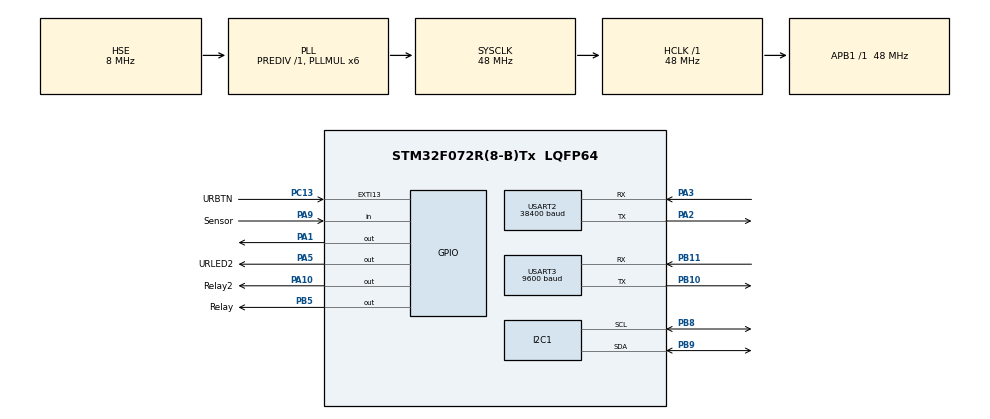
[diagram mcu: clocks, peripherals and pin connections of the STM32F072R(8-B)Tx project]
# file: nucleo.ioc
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Dma.Request0=USART3_RX
Dma.Request1=USART3_TX
Dma.USART3_RX.0.Direction=DMA_PERIPH_TO_MEMORY
Dma.USART3_RX.0.Instance=DMA1_Channel3
Dma.USART3_RX.0.MemDataAlignment=DMA_MDATAALIGN_BYTE
Dma.USART3_RX.0.MemInc=DMA_MINC_ENABLE
Dma.USART3_RX.0.Mode=DMA_CIRCULAR
Dma.USART3_RX.0.PeriphDataAlignment=DMA_PDATAALIGN_BYTE
Dma.USART3_RX.0.PeriphInc=DMA_PINC_DISABLE
Dma.USART3_RX.0.Priority=DMA_PRIORITY_LOW
Dma.USART3_TX.1.Direction=DMA_MEMORY_TO_PERIPH
Dma.USART3_TX.1.Instance=DMA1_Channel2
Dma.USART3_TX.1.MemDataAlignment=DMA_MDATAALIGN_BYTE
Dma.USART3_TX.1.MemInc=DMA_MINC_ENABLE
Dma.USART3_TX.1.Mode=DMA_NORMAL
Dma.USART3_TX.1.PeriphDataAlignment=DMA_PDATAALIGN_BYTE
Dma.USART3_TX.1.PeriphInc=DMA_PINC_DISABLE
Dma.USART3_TX.1.Priority=DMA_PRIORITY_LOW
Mcu.Family=STM32F0
Mcu.Name=STM32F072R(8-B)Tx
Mcu.Package=LQFP64
NVIC.DMA1_Channel2_3_IRQn=true\:0\:0\:false\:false\:true\:false\:true
NVIC.EXTI4_15_IRQn=true\:0\:0\:false\:false\:true\:true\:true
NVIC.TIM16_IRQn=true\:0\:0\:false\:false\:true\:true\:true
NVIC.TIM2_IRQn=true\:0\:0\:false\:false\:true\:true\:true
NVIC.USART2_IRQn=true\:0\:0\:false\:false\:true\:true\:true
PA1.PinState=GPIO_PIN_RESET
PA1.Signal=GPIO_Output
PA10.GPIO_Label=Relay2
PA10.Signal=GPIO_Output
PA13.Mode=Serial_Wire
PA13.Signal=SYS_SWDIO
PA14.Mode=Serial_Wire
PA14.Signal=SYS_SWCLK
PA2.Mode=Asynchronous
PA2.Signal=USART2_TX
PA3.Mode=Asynchronous
PA3.Signal=USART2_RX
PA5.GPIO_Label=URLED2
PA5.Signal=GPIO_Output
PA9.GPIO_Label=Sensor
PA9.Signal=GPIO_Input
PB10.Mode=Asynchronous
PB10.Signal=USART3_TX
PB11.Mode=Asynchronous
PB11.Signal=USART3_RX
PB5.GPIO_Label=Relay
PB5.Signal=GPIO_Output
PB8.Mode=I2C
PB8.Signal=I2C1_SCL
PB9.Mode=I2C
PB9.Signal=I2C1_SDA
PC13.GPIO_Label=URBTN
PC13.Signal=GPXTI13
PF0-OSC_IN.Mode=HSE-External-Oscillator
PF0-OSC_IN.Signal=RCC_OSC_IN
PF1-OSC_OUT.Mode=HSE-External-Oscillator
PF1-OSC_OUT.Signal=RCC_OSC_OUT
ProjectManager.HeapSize=0x200
ProjectManager.StackSize=0x400
ProjectManager.TargetToolchain=STM32CubeIDE
RCC.AHBFreq_Value=48000000
RCC.APB1Freq_Value=48000000
RCC.APB1TimFreq_Value=48000000
RCC.HCLKFreq_Value=48000000
RCC.PLLMUL=RCC_PLL_MUL6
RCC.PLLSourceVirtual=RCC_PLLSOURCE_HSE
RCC.SYSCLKFreq_VALUE=48000000
RCC.SYSCLKSource=RCC_SYSCLKSOURCE_PLLCLK
STMicroelectronics.X-CUBE-MEMS1.8.2.0.BoardOoPartJjAccGyrJjLSM6DSL=I2C
TIM16.Period=5000-1
TIM16.Prescaler=32000-1
TIM2.Period=2999
TIM2.Prescaler=35999
USART2.BaudRate=38400
USART2.VirtualMode-Asynchronous=VM_ASYNC
USART3.BaudRate=9600
USART3.VirtualMode-Asynchronous=VM_ASYNC
VP_TIM16_VS_ClockSourceINT.Mode=Enable_Timer
VP_TIM2_VS_ClockSourceINT.Mode=Internal
board=custom

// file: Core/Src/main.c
/* USER CODE BEGIN Header */
/**
  ******************************************************************************
  * @file           : main.c
  * @brief          : Main program body
  ******************************************************************************
  * @attention
  *
  * <h2><center>&copy; Copyright (c) 2020 STMicroelectronics.
  * All rights reserved.</center></h2>
  *
  * This software component is licensed by ST under BSD 3-Clause license,
  * the "License"; You may not use this file except in compliance with the
  * License. You may obtain a copy of the License at:
  *                        opensource.org/licenses/BSD-3-Clause
  *
  ******************************************************************************
  */
/* USER CODE END Header */
#include "main.h"

/* USER CODE BEGIN Includes */
#include <stdio.h>
#include <string.h>
#include <SerLCD.h>

/* USER CODE END Includes */

/* USER CODE BEGIN PM */
#define TRUE 1
#define FALSE 0
#define COUNTOF(__BUFFER__) (sizeof(__BUFFER__)/sizeof(*(__BUFFER__)))
/* USER CODE END PM */

I2C_HandleTypeDef hi2c1;

TIM_HandleTypeDef htim2;
TIM_HandleTypeDef htim16;

UART_HandleTypeDef huart2;
UART_HandleTypeDef huart3;
DMA_HandleTypeDef hdma_usart3_rx;
DMA_HandleTypeDef hdma_usart3_tx;

/* USER CODE BEGIN PV */
int led_status = FALSE;
//char data[] = "Test\r\n";
uint8_t a[4];
uint8_t rx_data;
uint8_t buf[1000];

uint8_t mise_buffer[32];
uint8_t mise_send_buffer[7] = {0x42,0x4d,0};
uint8_t receive_complete=0;
uint8_t sleep_mode = 0;
uint8_t pm2_5 = 0;
uint8_t pm10 = 0;
char s_pm2_5[3] = "";
char s_pm10[3] = "";

int loop_value = 1;
int list_value = 0;
int i = 0;

uint8_t status_lcd = 0;
uint8_t lcd_counter = 0;

/* USER CODE END PV */

void SystemClock_Config(void);
static void MX_GPIO_Init(void);
static void MX_DMA_Init(void);
static void MX_USART2_UART_Init(void);
static void MX_TIM2_Init(void);
static void MX_USART3_UART_Init(void);
static void MX_TIM16_Init(void);
static void MX_I2C1_Init(void);
/* USER CODE BEGIN PFP */

void print_MISE(void);
void write_MISE(char* cmd);

/* USER CODE END PFP */

/* USER CODE BEGIN 0 */
int __io_putchar(int ch) {
	HAL_UART_Transmit(&huart2, (uint8_t*)&ch, 1, 10);

	return 1;
}

int __io_getchar(void) {
	HAL_UART_Receive_IT(&huart2, rx_data, 1);

	return 1;
}

/* USER CODE END 0 */

int main(void)
{

  /* MCU Configuration--------------------------------------------------------*/

  /* Reset of all peripherals, Initializes the Flash interface and the Systick. */
  HAL_Init();

  /* Configure the system clock */
  SystemClock_Config();

  /* Initialize all configured peripherals */
  MX_GPIO_Init();
  MX_DMA_Init();
  MX_USART2_UART_Init();
  MX_TIM2_Init();
  MX_USART3_UART_Init();
  MX_TIM16_Init();
  MX_I2C1_Init();
  /* USER CODE BEGIN 2 */
  HAL_TIM_Base_Start(&htim2);
  HAL_UART_Receive_IT(&huart2, &rx_data, 1);

//  HAL_GPIO_WritePin(Relay_GPIO_Port, Relay_Pin, RESET);

//  if(HAL_UART_Receive_DMA(&huart3,mise_buffer,32)!=HAL_OK)
//  {
//  	  printf("fail\r\n");
//  }
//
//
//  write_MISE("Passive");

//  HAL_Delay(2000);
  /* USER CODE END 2 */

  /* Infinite loop */
  /* USER CODE BEGIN WHILE */
  while (1)
  {
//	  if(loop_value == 1)
//		  printf("loop.\r\n");
//	  else if(loop_value == 2)
//		  printf("loop..\r\n");
//	  else
//		  printf("loop...\r\n");
//	  if(loop_value == 3)
//		  loop_value = 0;
//	  loop_value += 1;
//	  HAL_Delay(500);
//
//	  if (HAL_GPIO_ReadPin(Sensor_GPIO_Port, Sensor_Pin))
//		  printf("Detected!!!\r\n");
//	  else
//		  printf("No Detected...\r\n");
//	  HAL_Delay(500);

//	  if(led_status == TRUE) {
//		  led_off(URLED2_GPIO_Port, URLED2_Pin);
//	  } else {
//		  led_on(URLED2_GPIO_Port, URLED2_Pin);
//	  }

//	  if(HAL_UART_Receive(&huart2, &a, 4, 10) == HAL_OK) {
//		  HAL_UART_Transmit(&huart2, &a, 4, 10);
//	  }
//	  HAL_UART_Transmit(&huart2, &a, COUNTOF(a), 10);
//	  HAL_Delay(500);
//	  HAL_UART_Transmit(&huart2, (uint8_t *)data, (COUNTOF(data)-1), 50);
//	  scanf("%c", rx_data);
//	  HAL_Delay(500);

//	  HAL_Delay(3000);

    /* USER CODE END WHILE */

    /* USER CODE BEGIN 3 */
	  HAL_GPIO_WritePin(Relay_GPIO_Port, Relay_Pin, SET);
	  HAL_GPIO_WritePin(Relay2_GPIO_Port, Relay2_Pin, SET);
	  HAL_Delay(5000);
	  HAL_GPIO_WritePin(Relay_GPIO_Port, Relay_Pin, RESET);
	  HAL_GPIO_WritePin(Relay2_GPIO_Port, Relay2_Pin, RESET);
	  HAL_Delay(20000);

//	  status_lcd = displayInit(&hi2c1);
//	  if (HAL_GPIO_ReadPin(Sensor_GPIO_Port, Sensor_Pin))
//		  displayWriteString("Detected!!!");
//	  else
//		  displayWriteString("No Detected...");
//	  HAL_Delay(500);
  }
  /* USER CODE END 3 */
}

void SystemClock_Config(void)
{
  RCC_OscInitTypeDef RCC_OscInitStruct = {0};
  RCC_ClkInitTypeDef RCC_ClkInitStruct = {0};
  RCC_PeriphCLKInitTypeDef PeriphClkInit = {0};

  /** Initializes the RCC Oscillators according to the specified parameters
  * in the RCC_OscInitTypeDef structure.
  */
  RCC_OscInitStruct.OscillatorType = RCC_OSCILLATORTYPE_HSI|RCC_OSCILLATORTYPE_HSE;
  RCC_OscInitStruct.HSEState = RCC_HSE_ON;
  RCC_OscInitStruct.HSIState = RCC_HSI_ON;
  RCC_OscInitStruct.HSICalibrationValue = RCC_HSICALIBRATION_DEFAULT;
  RCC_OscInitStruct.PLL.PLLState = RCC_PLL_ON;
  RCC_OscInitStruct.PLL.PLLSource = RCC_PLLSOURCE_HSE;
  RCC_OscInitStruct.PLL.PLLMUL = RCC_PLL_MUL6;
  RCC_OscInitStruct.PLL.PREDIV = RCC_PREDIV_DIV1;
  if (HAL_RCC_OscConfig(&RCC_OscInitStruct) != HAL_OK)
  {
    Error_Handler();
  }
  /** Initializes the CPU, AHB and APB buses clocks
  */
  RCC_ClkInitStruct.ClockType = RCC_CLOCKTYPE_HCLK|RCC_CLOCKTYPE_SYSCLK
                              |RCC_CLOCKTYPE_PCLK1;
  RCC_ClkInitStruct.SYSCLKSource = RCC_SYSCLKSOURCE_PLLCLK;
  RCC_ClkInitStruct.AHBCLKDivider = RCC_SYSCLK_DIV1;
  RCC_ClkInitStruct.APB1CLKDivider = RCC_HCLK_DIV1;

  if (HAL_RCC_ClockConfig(&RCC_ClkInitStruct, FLASH_LATENCY_1) != HAL_OK)
  {
    Error_Handler();
  }
  PeriphClkInit.PeriphClockSelection = RCC_PERIPHCLK_USART2|RCC_PERIPHCLK_I2C1;
  PeriphClkInit.Usart2ClockSelection = RCC_USART2CLKSOURCE_PCLK1;
  PeriphClkInit.I2c1ClockSelection = RCC_I2C1CLKSOURCE_HSI;
  if (HAL_RCCEx_PeriphCLKConfig(&PeriphClkInit) != HAL_OK)
  {
    Error_Handler();
  }
}

static void MX_I2C1_Init(void)
{

  hi2c1.Instance = I2C1;
  hi2c1.Init.Timing = 0x2000090E;
  hi2c1.Init.OwnAddress1 = 0;
  hi2c1.Init.AddressingMode = I2C_ADDRESSINGMODE_7BIT;
  hi2c1.Init.DualAddressMode = I2C_DUALADDRESS_DISABLE;
  hi2c1.Init.OwnAddress2 = 0;
  hi2c1.Init.OwnAddress2Masks = I2C_OA2_NOMASK;
  hi2c1.Init.GeneralCallMode = I2C_GENERALCALL_DISABLE;
  hi2c1.Init.NoStretchMode = I2C_NOSTRETCH_DISABLE;
  if (HAL_I2C_Init(&hi2c1) != HAL_OK)
  {
    Error_Handler();
  }
  /** Configure Analogue filter
  */
  if (HAL_I2CEx_ConfigAnalogFilter(&hi2c1, I2C_ANALOGFILTER_ENABLE) != HAL_OK)
  {
    Error_Handler();
  }
  /** Configure Digital filter
  */
  if (HAL_I2CEx_ConfigDigitalFilter(&hi2c1, 0) != HAL_OK)
  {
    Error_Handler();
  }

}

static void MX_TIM2_Init(void)
{

  TIM_ClockConfigTypeDef sClockSourceConfig = {0};
  TIM_MasterConfigTypeDef sMasterConfig = {0};

  htim2.Instance = TIM2;
  htim2.Init.Prescaler = 35999;
  htim2.Init.CounterMode = TIM_COUNTERMODE_UP;
  htim2.Init.Period = 2999;
  htim2.Init.ClockDivision = TIM_CLOCKDIVISION_DIV1;
  htim2.Init.AutoReloadPreload = TIM_AUTORELOAD_PRELOAD_DISABLE;
  if (HAL_TIM_Base_Init(&htim2) != HAL_OK)
  {
    Error_Handler();
  }
  sClockSourceConfig.ClockSource = TIM_CLOCKSOURCE_INTERNAL;
  if (HAL_TIM_ConfigClockSource(&htim2, &sClockSourceConfig) != HAL_OK)
  {
    Error_Handler();
  }
  sMasterConfig.MasterOutputTrigger = TIM_TRGO_RESET;
  sMasterConfig.MasterSlaveMode = TIM_MASTERSLAVEMODE_DISABLE;
  if (HAL_TIMEx_MasterConfigSynchronization(&htim2, &sMasterConfig) != HAL_OK)
  {
    Error_Handler();
  }

}

static void MX_TIM16_Init(void)
{

  htim16.Instance = TIM16;
  htim16.Init.Prescaler = 32000-1;
  htim16.Init.CounterMode = TIM_COUNTERMODE_UP;
  htim16.Init.Period = 5000-1;
  htim16.Init.ClockDivision = TIM_CLOCKDIVISION_DIV1;
  htim16.Init.RepetitionCounter = 0;
  htim16.Init.AutoReloadPreload = TIM_AUTORELOAD_PRELOAD_DISABLE;
  if (HAL_TIM_Base_Init(&htim16) != HAL_OK)
  {
    Error_Handler();
  }
  /* USER CODE BEGIN TIM16_Init 2 */
  HAL_TIM_Base_Start_IT(&htim16);
  /* USER CODE END TIM16_Init 2 */

}

static void MX_USART2_UART_Init(void)
{

  huart2.Instance = USART2;
  huart2.Init.BaudRate = 38400;
  huart2.Init.WordLength = UART_WORDLENGTH_8B;
  huart2.Init.StopBits = UART_STOPBITS_1;
  huart2.Init.Parity = UART_PARITY_NONE;
  huart2.Init.Mode = UART_MODE_TX_RX;
  huart2.Init.HwFlowCtl = UART_HWCONTROL_NONE;
  huart2.Init.OverSampling = UART_OVERSAMPLING_16;
  huart2.Init.OneBitSampling = UART_ONE_BIT_SAMPLE_DISABLE;
  huart2.AdvancedInit.AdvFeatureInit = UART_ADVFEATURE_NO_INIT;
  if (HAL_UART_Init(&huart2) != HAL_OK)
  {
    Error_Handler();
  }

}

static void MX_USART3_UART_Init(void)
{

  huart3.Instance = USART3;
  huart3.Init.BaudRate = 9600;
  huart3.Init.WordLength = UART_WORDLENGTH_8B;
  huart3.Init.StopBits = UART_STOPBITS_1;
  huart3.Init.Parity = UART_PARITY_NONE;
  huart3.Init.Mode = UART_MODE_TX_RX;
  huart3.Init.HwFlowCtl = UART_HWCONTROL_NONE;
  huart3.Init.OverSampling = UART_OVERSAMPLING_16;
  huart3.Init.OneBitSampling = UART_ONE_BIT_SAMPLE_DISABLE;
  huart3.AdvancedInit.AdvFeatureInit = UART_ADVFEATURE_NO_INIT;
  if (HAL_UART_Init(&huart3) != HAL_OK)
  {
    Error_Handler();
  }

}

static void MX_DMA_Init(void)
{

  /* DMA controller clock enable */
  __HAL_RCC_DMA1_CLK_ENABLE();

  /* DMA interrupt init */
  /* DMA1_Channel2_3_IRQn interrupt configuration */
  HAL_NVIC_SetPriority(DMA1_Channel2_3_IRQn, 0, 0);
  HAL_NVIC_EnableIRQ(DMA1_Channel2_3_IRQn);

}

static void MX_GPIO_Init(void)
{
  GPIO_InitTypeDef GPIO_InitStruct = {0};

  /* GPIO Ports Clock Enable */
  __HAL_RCC_GPIOC_CLK_ENABLE();
  __HAL_RCC_GPIOF_CLK_ENABLE();
  __HAL_RCC_GPIOA_CLK_ENABLE();
  __HAL_RCC_GPIOB_CLK_ENABLE();

  /*Configure GPIO pin Output Level */
  HAL_GPIO_WritePin(GPIOA, GPIO_PIN_1|URLED2_Pin|Relay2_Pin, GPIO_PIN_RESET);

  /*Configure GPIO pin Output Level */
  HAL_GPIO_WritePin(Relay_GPIO_Port, Relay_Pin, GPIO_PIN_RESET);

  /*Configure GPIO pin : URBTN_Pin */
  GPIO_InitStruct.Pin = URBTN_Pin;
  GPIO_InitStruct.Mode = GPIO_MODE_IT_RISING;
  GPIO_InitStruct.Pull = GPIO_NOPULL;
  HAL_GPIO_Init(URBTN_GPIO_Port, &GPIO_InitStruct);

  /*Configure GPIO pins : PA1 URLED2_Pin Relay2_Pin */
  GPIO_InitStruct.Pin = GPIO_PIN_1|URLED2_Pin|Relay2_Pin;
  GPIO_InitStruct.Mode = GPIO_MODE_OUTPUT_PP;
  GPIO_InitStruct.Pull = GPIO_NOPULL;
  GPIO_InitStruct.Speed = GPIO_SPEED_FREQ_LOW;
  HAL_GPIO_Init(GPIOA, &GPIO_InitStruct);

  /*Configure GPIO pin : Sensor_Pin */
  GPIO_InitStruct.Pin = Sensor_Pin;
  GPIO_InitStruct.Mode = GPIO_MODE_INPUT;
  GPIO_InitStruct.Pull = GPIO_NOPULL;
  HAL_GPIO_Init(Sensor_GPIO_Port, &GPIO_InitStruct);

  /*Configure GPIO pin : Relay_Pin */
  GPIO_InitStruct.Pin = Relay_Pin;
  GPIO_InitStruct.Mode = GPIO_MODE_OUTPUT_PP;
  GPIO_InitStruct.Pull = GPIO_NOPULL;
  GPIO_InitStruct.Speed = GPIO_SPEED_FREQ_LOW;
  HAL_GPIO_Init(Relay_GPIO_Port, &GPIO_InitStruct);

  /* EXTI interrupt init*/
  HAL_NVIC_SetPriority(EXTI4_15_IRQn, 0, 0);
  HAL_NVIC_EnableIRQ(EXTI4_15_IRQn);

}

/* USER CODE BEGIN 4 */
void HAL_GPIO_EXTI_Callback(uint16_t GPIO_Pin)
{
  if (GPIO_Pin == URBTN_Pin) {
    if(led_status == FALSE) {
    	led_status = TRUE;
    } else {
    	led_status = FALSE;
    }
  }
}

void HAL_UART_RxCpltCallback(UART_HandleTypeDef *huart) {
	if(huart->Instance == USART2) {
		printf("Key Press!!!\r\n");
		HAL_UART_Receive_IT(&huart2, &rx_data, 1);
		buf[list_value] = rx_data;
		list_value++;
		if(rx_data == 'p') {
			HAL_UART_Transmit(&huart2, &buf, (list_value-1), 1);
			for(int i=0; i<list_value; i++) {
				buf[i] = 'null';
			}
			list_value = 0;
		}
//		HAL_UART_Transmit(&huart2, &rx_data, 1, 1);
	}

//	if(huart->Instance == USART3) {
//		print_MISE();
//		printf("%d\r\n", pm2_5);
//		sprintf(s_pm2_5, "%d", pm2_5);
//	}
}

void HAL_UART_TxCpltCallback(UART_HandleTypeDef *huart)
{
	if(huart->Instance==USART3)
	{

	}
}

//void HAL_TIM_PeriodElapsedCallback(TIM_HandleTypeDef *htim)
//{
//	printf("TIMER_Interrupt!!!\r\n");
//	if(htim->Instance==TIM16)
//	{
//		printf("TIMER16_Interrupt!!!\r\n");
//		write_MISE("Read");
//		printf("TIMER EXIT!!!\r\n");
//	}
//
//}

void print_MISE(void)
{
	uint16_t combine_value, check_byte_receive, check_byte_calculate=0;

	check_byte_receive=mise_buffer[30]<<8|mise_buffer[31];
	for(uint8_t i=0;i<30;i++)
	{
		check_byte_calculate+=mise_buffer[i];
	}

	if(check_byte_receive==check_byte_calculate)
	{
		printf("PM1.0 : %d	",(combine_value=(mise_buffer[10]<<8)|mise_buffer[11]));
		printf("PM2.5 : %d	",(combine_value=(mise_buffer[12]<<8)|mise_buffer[13]));
		printf("PM10 : %d	",(combine_value=(mise_buffer[14]<<8)|mise_buffer[15]));
		printf("0.3um : %d	",(combine_value=(mise_buffer[16]<<8)|mise_buffer[17]));
		printf("0.5um : %d	",(combine_value=(mise_buffer[18]<<8)|mise_buffer[19]));
		printf("1.0um : %d	",(combine_value=(mise_buffer[20]<<8)|mise_buffer[21]));
		printf("2.5um : %d	",(combine_value=(mise_buffer[22]<<8)|mise_buffer[23]));
		printf("5.0um : %d	",(combine_value=(mise_buffer[24]<<8)|mise_buffer[25]));
		printf("10.0um : %d\r\n",(combine_value=(mise_buffer[26]<<8)|mise_buffer[27]));
		pm2_5 = combine_value=((mise_buffer[12]<<8)|mise_buffer[13]);
//		sprintf(s_pm2_5, "%d", pm2_5);
//		pm10 = combine_value=((mise_buffer[14]<<8)|mise_buffer[15]);
	}
	else
	{
	}
}

void write_MISE(char* cmd)
{
	uint16_t verify_byte=0;

	printf("Enter the write_MISE\r\n");

	if(strcmp(cmd,"Read")==0)
	{
		mise_send_buffer[2]=0xe2;
		mise_send_buffer[3]=0x00;
		mise_send_buffer[4]=0x00;
		printf("if's Read\r\n");
	}
	else if(strcmp(cmd,"Passive")==0)
	{
		mise_send_buffer[2]=0xe1;
		mise_send_buffer[3]=0x00;
		mise_send_buffer[4]=0x00;
		printf("if's Passive\r\n");
	}
	else if(strcmp(cmd,"Active")==0)
	{
		mise_send_buffer[2]=0xe1;
		mise_send_buffer[3]=0x00;
		mise_send_buffer[4]=0x01;
		printf("if's Active\r\n");

	}
	else if(strcmp(cmd,"Sleep")==0)
	{
		mise_send_buffer[2]=0xe4;
		mise_send_buffer[3]=0x00;
		mise_send_buffer[4]=0x00;
		printf("if's Sleep\r\n");
	}
	else if(strcmp(cmd,"WakeUp")==0)
	{
		mise_send_buffer[2]=0xe4;
		mise_send_buffer[3]=0x00;
		mise_send_buffer[4]=0x01;
		printf("if's WakeUp\r\n");
	}
	for(uint8_t i=0;i<5;i++)
	{
		verify_byte+=mise_send_buffer[i];
	}
	mise_send_buffer[5]=verify_byte>>8;
	mise_send_buffer[6]=verify_byte;

	while(HAL_UART_GetState(&huart3)!=HAL_UART_STATE_READY)
	{
	}

	if(HAL_UART_Transmit_IT(&huart3,(uint8_t*)mise_send_buffer,7)!=HAL_OK)
	{

	}
	if(strcmp(cmd,"Read")==0)
	{
		while(HAL_UART_GetState(&huart3)!=HAL_UART_STATE_READY)
		{
		}
		if(HAL_UART_Receive_IT(&huart3,mise_send_buffer, 32)!=HAL_OK)
		{

		}
	}

	printf("%d\r\n", mise_send_buffer);
}
/* USER CODE END 4 */

void Error_Handler(void)
{
  __disable_irq();
  while (1)
  {
  }
}

/************************ (C) COPYRIGHT STMicroelectronics *****END OF FILE****/
